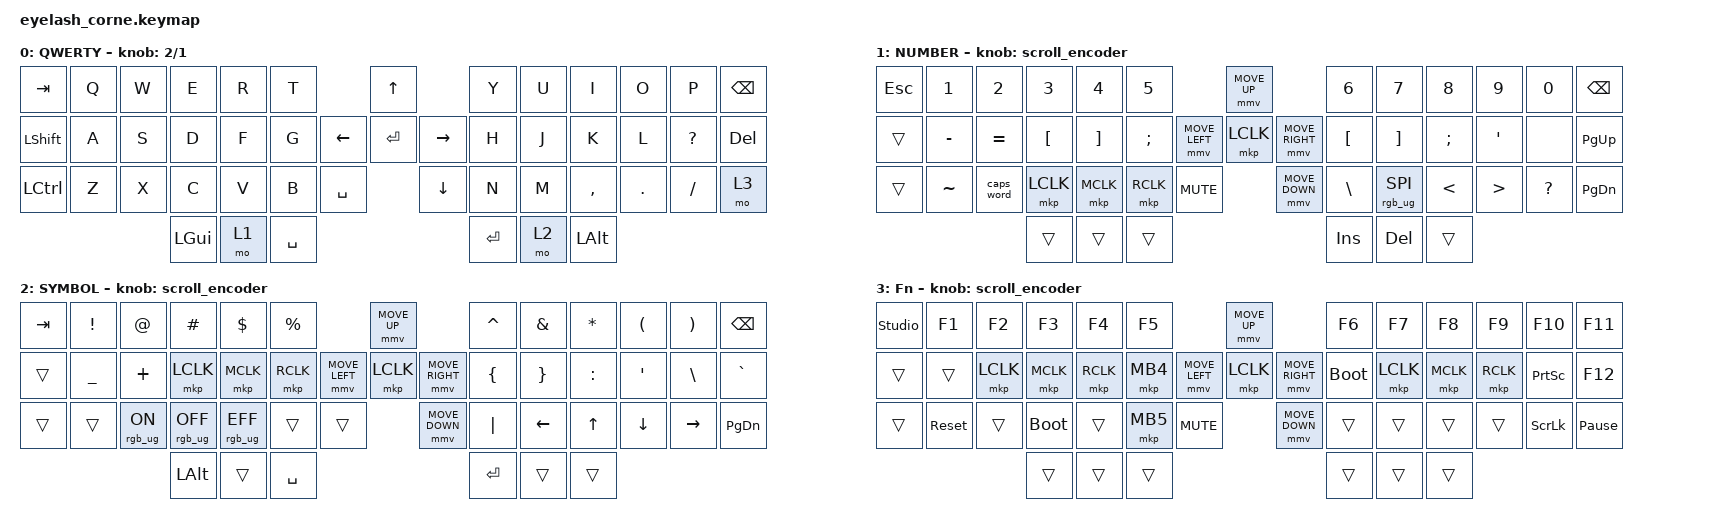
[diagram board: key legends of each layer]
#define ZMK_POINTING_DEFAULT_MOVE_VAL 1200  // 600
#define ZMK_POINTING_DEFAULT_SCRL_VAL 25   // 10

#include <input/processors.dtsi>
#include <zephyr/dt-bindings/input/input-event-codes.h>
#include <behaviors.dtsi>
#include <dt-bindings/zmk/keys.h>
#include <dt-bindings/zmk/outputs.h>
#include <dt-bindings/zmk/pointing.h>
#include <dt-bindings/zmk/rgb.h>

&mmv_input_listener { input-processors = <&zip_xy_scaler 2 1>; };

&msc_input_listener { input-processors = <&zip_scroll_scaler 2 1>; };

&msc {
    acceleration-exponent = <1>;      // 0
    time-to-max-speed-ms = <100>;       // 300
    delay-ms = <0>;                   // 0
};

&mmv {
    time-to-max-speed-ms = <500>;
    acceleration-exponent = <1>;
    trigger-period-ms = <16>;
};

/ {
    behaviors {
        td0: td0 {
            compatible = "zmk,behavior-tap-dance";
            display-name = "Shift/Caps Lock Tap Dance";
            #binding-cells = <0>;
            bindings = <&kp LEFT_SHIFT>, <&kp CAPS>;
        };
    };

    rgb_encoder: rgb_encoder {
        compatible = "zmk,behavior-sensor-rotate";
        #sensor-binding-cells = <0>;
        bindings = <&rgb_ug RGB_BRI>, <&rgb_ug RGB_BRD>;
    };

    scroll_encoder: scroll_encoder {
        compatible = "zmk,behavior-sensor-rotate";
        #sensor-binding-cells = <0>;
        bindings = <&msc SCRL_DOWN>, <&msc SCRL_UP>;

        tap-ms = <100>;
    };

    keymap {
        compatible = "zmk,keymap";

        default_layer {
            display-name = "QWERTY";
            bindings = <
&kp TAB         &kp Q  &kp W  &kp E     &kp R  &kp T                             &kp UP                &kp Y      &kp U  &kp I      &kp O    &kp P     &kp BSPC
&kp LEFT_SHIFT  &kp A  &kp S  &kp D     &kp F  &kp G                   &kp LEFT  &kp ENTER  &kp RIGHT  &kp H      &kp J  &kp K      &kp L    &kp QMARK     &kp DEL
&kp LCTRL       &kp Z  &kp X  &kp C     &kp V  &kp B      &kp SPACE              &kp DOWN              &kp N      &kp M  &kp COMMA  &kp DOT  &kp FSLH  &mo 3
                              &kp LGUI  &mo 1  &kp SPACE                                               &kp ENTER  &mo 2  &kp LEFT_ALT
            >;

            // sensor-bindings = <&inc_dec_kp C_VOLUME_UP C_VOLUME_DOWN>;

            sensor-bindings = <&inc_dec_kp N2 N1>;
        };

        lower_layer {
            display-name = "NUMBER";
            bindings = <
&kp ESC  &kp N1     &kp N2          &kp N3           &kp N4          &kp N5                                         &mmv MOVE_UP                     &kp N6    &kp N7           &kp N8         &kp N9            &kp N0     &kp BSPC
&trans   &kp MINUS  &kp EQUAL       &kp LBKT        &kp RBKT       &kp SEMI                      &mmv MOVE_LEFT  &mkp LCLK       &mmv MOVE_RIGHT      &kp LBKT  &kp RBKT         &kp SEMI       &kp SQT           &none      &kp PG_UP
&trans   &kp TILDE  &caps_word  &mkp LCLK  &mkp MCLK   &mkp RCLK   &kp C_MUTE                                    &mmv MOVE_DOWN                       &kp BSLH  &rgb_ug RGB_SPI  &kp LT         &kp GT  &kp QUESTION  &kp PG_DN
                                    &trans           &trans          &trans                                                                          &kp INS   &kp DEL          &trans
            >;

            sensor-bindings = <&scroll_encoder>;
        };

        raise_layer {
            display-name = "SYMBOL";
            bindings = <
&kp TAB  &kp EXCL      &kp AT        &kp HASH      &kp DLLR   &kp PRCNT                            &mmv MOVE_UP                     &kp CARET  &kp AMPS  &kp ASTRK  &kp LPAR  &kp RPAR   &kp BSPC
&trans   &kp UNDER     &kp PLUS      &mkp LCLK     &mkp MCLK  &mkp RCLK            &mmv MOVE_LEFT  &mkp LCLK       &mmv MOVE_RIGHT  &kp LBRC   &kp RBRC  &kp COLON  &kp SQT   &kp BSLH   &kp GRAVE
&trans   &trans  &rgb_ug RGB_ON   &rgb_ug RGB_OFF   &rgb_ug RGB_EFF   &trans &trans                    &mmv MOVE_DOWN                      &kp PIPE   &kp LEFT  &kp UP     &kp DOWN  &kp RIGHT  &kp PG_DN
                                     &kp LEFT_ALT  &trans     &kp SPACE                                                             &kp RET    &trans    &trans
            >;

            sensor-bindings = <&scroll_encoder>;
        };

        layer_3 {
            display-name = "Fn";
            bindings = <
&studio_unlock  &kp F1      &kp F2     &kp F3       &kp F4     &kp F5                                  &mmv MOVE_UP                     &kp F6       &kp F7     &kp F8       &kp F9      &kp F10          &kp F11
&trans          &trans      &mkp LCLK  &mkp MCLK    &mkp RCLK  &mkp MB4                &mmv MOVE_LEFT  &mkp LCLK       &mmv MOVE_RIGHT  &bootloader  &mkp LCLK  &mkp MCLK    &mkp RCLK   &kp PRINTSCREEN  &kp F12
&trans          &sys_reset  &trans     &bootloader  &trans     &mkp MB5  &kp C_MUTE                    &mmv MOVE_DOWN                   &trans   &trans   &trans  &trans  &kp SCROLLLOCK   &kp PAUSE_BREAK
                                       &trans       &trans     &trans                                                                   &trans       &trans     &trans
            >;

            sensor-bindings = <&scroll_encoder>;
        };
    };
};
